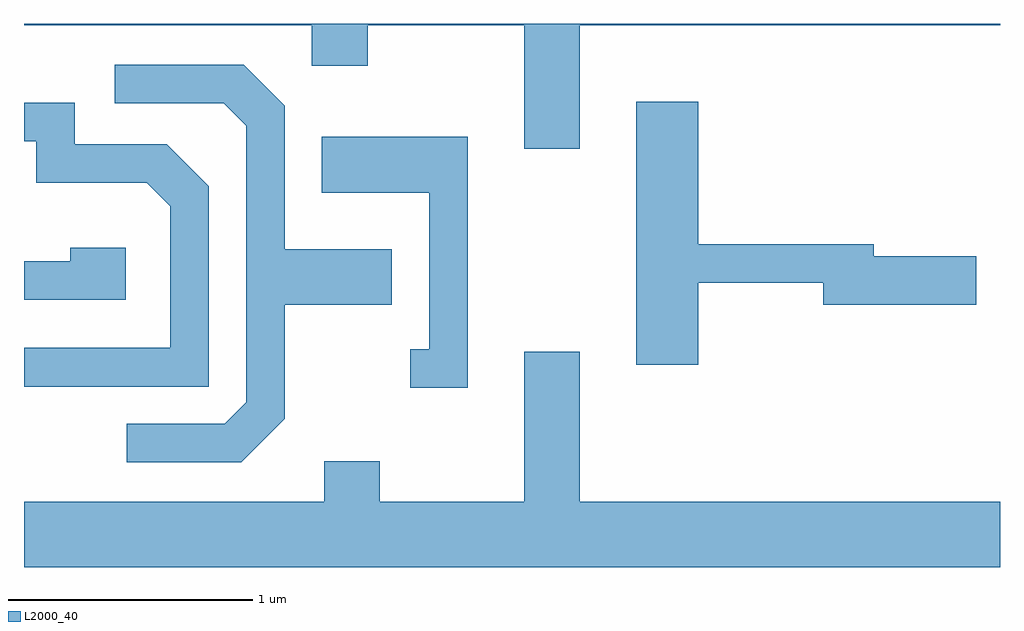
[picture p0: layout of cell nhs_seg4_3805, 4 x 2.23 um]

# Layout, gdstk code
import gdstk
lib = gdstk.Library(unit=1e-6, precision=1e-09)
def P(c, l, *ps):  # polygons
    for p in ps: c.add(gdstk.Polygon(p, *l))
L2000_40 = (2000, 40)

nhs_seg4_3805 = lib.new_cell('nhs_seg4_3805')
P(nhs_seg4_3805, L2000_40, [(297.889,1387.976),(299.611,1387.976),(299.611,1387.982),(295.611,1387.982),(295.611,1387.976),(296.791,1387.976),(296.791,1387.811),(297.019,1387.811),(297.019,1387.976),(297.661,1387.976),(297.661,1387.471),(297.889,1387.471)],
  [(296.679,1386.364),(296.679,1386.831),(297.119,1386.831),(297.119,1387.059),(296.679,1387.059),(296.679,1387.647),(296.512,1387.814),(295.983,1387.814),(295.983,1387.656),(296.429,1387.656),(296.521,1387.564),(296.521,1386.432),(296.434,1386.344),(296.033,1386.344),(296.033,1386.186),(296.502,1386.186)],
  [(298.374,1386.921),(298.886,1386.921),(298.886,1386.831),(299.514,1386.831),(299.514,1387.029),(299.094,1387.029),(299.094,1387.079),(298.374,1387.079),(298.374,1387.664),(298.121,1387.664),(298.121,1386.586),(298.374,1386.586)],
  [(296.369,1387.317),(296.197,1387.489),(295.819,1387.489),(295.819,1387.659),(295.611,1387.659),(295.611,1387.501),(295.661,1387.501),(295.661,1387.331),(296.114,1387.331),(296.211,1387.234),(296.211,1386.654),(295.611,1386.654),(295.611,1386.496),(296.369,1386.496)],
  [(297.429,1387.519),(296.831,1387.519),(296.831,1387.291),(297.271,1387.291),(297.271,1386.649),(297.193,1386.649),(297.193,1386.491),(297.429,1386.491)],
  [(296.029,1387.064),(295.801,1387.064),(295.801,1387.009),(295.611,1387.009),(295.611,1386.851),(296.029,1386.851)],
  [(299.611,1386.024),(297.889,1386.024),(297.889,1386.639),(297.661,1386.639),(297.661,1386.024),(297.069,1386.024),(297.069,1386.189),(296.841,1386.189),(296.841,1386.024),(295.611,1386.024),(295.611,1385.756),(299.611,1385.756)])

lib.write_gds('nhs_seg4_3805.gds')
